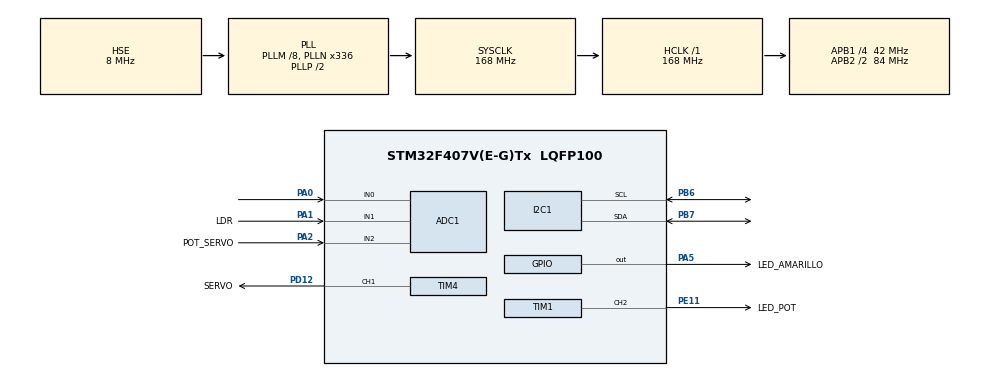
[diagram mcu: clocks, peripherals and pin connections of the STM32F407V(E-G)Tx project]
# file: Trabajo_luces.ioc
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ADC1.Channel-0\#ChannelRegularConversion=ADC_CHANNEL_0
ADC1.Channel-1\#ChannelRegularConversion=ADC_CHANNEL_1
ADC1.Channel-2\#ChannelRegularConversion=ADC_CHANNEL_2
ADC1.Channel-3\#ChannelRegularConversion=ADC_CHANNEL_TEMPSENSOR
ADC1.ContinuousConvMode=ENABLE
ADC1.NbrOfConversion=4
ADC1.NbrOfConversionFlag=1
ADC1.Rank-0\#ChannelRegularConversion=1
ADC1.Rank-1\#ChannelRegularConversion=2
ADC1.Rank-2\#ChannelRegularConversion=3
ADC1.Rank-3\#ChannelRegularConversion=4
ADC1.SamplingTime-0\#ChannelRegularConversion=ADC_SAMPLETIME_28CYCLES
ADC1.SamplingTime-1\#ChannelRegularConversion=ADC_SAMPLETIME_84CYCLES
ADC1.SamplingTime-2\#ChannelRegularConversion=ADC_SAMPLETIME_112CYCLES
ADC1.SamplingTime-3\#ChannelRegularConversion=ADC_SAMPLETIME_28CYCLES
ADC1.ScanConvMode=ENABLE
ADC1.master=1
Mcu.Family=STM32F4
Mcu.Name=STM32F407V(E-G)Tx
Mcu.Package=LQFP100
NVIC.PriorityGroup=NVIC_PRIORITYGROUP_0
PA0-WKUP.Signal=ADCx_IN0
PA1.GPIO_Label=LDR
PA1.Signal=ADCx_IN1
PA13.Mode=Serial_Wire
PA13.Signal=SYS_JTMS-SWDIO
PA14.Mode=Serial_Wire
PA14.Signal=SYS_JTCK-SWCLK
PA2.GPIO_Label=POT_SERVO
PA2.Signal=ADCx_IN2
PA5.GPIO_Label=LED_AMARILLO
PA5.Signal=GPIO_Output
PB6.Mode=I2C
PB6.Signal=I2C1_SCL
PB7.Mode=I2C
PB7.Signal=I2C1_SDA
PD12.GPIO_Label=SERVO
PD12.Signal=S_TIM4_CH1
PE11.GPIO_Label=LED_POT
PE11.Signal=S_TIM1_CH2
PH0-OSC_IN.Mode=HSE-External-Oscillator
PH0-OSC_IN.Signal=RCC_OSC_IN
PH1-OSC_OUT.Mode=HSE-External-Oscillator
PH1-OSC_OUT.Signal=RCC_OSC_OUT
ProjectManager.HeapSize=0x200
ProjectManager.StackSize=0x400
ProjectManager.TargetToolchain=STM32CubeIDE
RCC.48MHZClocksFreq_Value=48000000
RCC.AHBFreq_Value=168000000
RCC.APB1CLKDivider=RCC_HCLK_DIV4
RCC.APB1Freq_Value=42000000
RCC.APB1TimFreq_Value=84000000
RCC.APB2CLKDivider=RCC_HCLK_DIV2
RCC.APB2Freq_Value=84000000
RCC.APB2TimFreq_Value=168000000
RCC.CortexFreq_Value=168000000
RCC.HCLKFreq_Value=168000000
RCC.HSE_VALUE=8000000
RCC.HSI_VALUE=16000000
RCC.PLLM=8
RCC.PLLN=336
RCC.PLLQ=7
RCC.PLLSourceVirtual=RCC_PLLSOURCE_HSE
RCC.SYSCLKFreq_VALUE=168000000
RCC.SYSCLKSource=RCC_SYSCLKSOURCE_PLLCLK
RCC.VCOOutputFreq_Value=336000000
SH.ADCx_IN0.0=ADC1_IN0,IN0
SH.ADCx_IN1.0=ADC1_IN1,IN1
SH.ADCx_IN2.0=ADC1_IN2,IN2
SH.S_TIM1_CH2.0=TIM1_CH2,PWM Generation2 CH2
SH.S_TIM4_CH1.0=TIM4_CH1,PWM Generation1 CH1
TIM1.Channel-PWM\ Generation2\ CH2=TIM_CHANNEL_2
TIM4.Channel-PWM\ Generation1\ CH1=TIM_CHANNEL_1
TIM4.Period=19999
TIM4.Prescaler=83
VP_ADC1_TempSens_Input.Mode=IN-TempSens
VP_TIM1_VS_ClockSourceINT.Mode=Internal
VP_TIM4_VS_ClockSourceINT.Mode=Internal
board=STM32F407G-DISC1

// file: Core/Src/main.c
/* USER CODE BEGIN Header */
/**
  ******************************************************************************
  * @file           : main.c
  * @brief          : Main program body
  ******************************************************************************
  * @attention
  *
  * <h2><center>&copy; Copyright (c) 2021 STMicroelectronics.
  * All rights reserved.</center></h2>
  *
  * This software component is licensed by ST under Ultimate Liberty license
  * SLA0044, the "License"; You may not use this file except in compliance with
  * the License. You may obtain a copy of the License at:
  *                             www.st.com/SLA0044
  *
  ******************************************************************************
  */
/* USER CODE END Header */
#include "main.h"

/* USER CODE BEGIN Includes */
#include "i2c-lcd.h"
#include <stdio.h>

/* USER CODE END Includes */

ADC_HandleTypeDef hadc1;

I2C_HandleTypeDef hi2c1;

TIM_HandleTypeDef htim1;
TIM_HandleTypeDef htim4;

void SystemClock_Config(void);
static void MX_GPIO_Init(void);
static void MX_I2C1_Init(void);
static void MX_ADC1_Init(void);
static void MX_TIM1_Init(void);
static void MX_TIM4_Init(void);

/* USER CODE BEGIN 0 */

uint16_t ADC_VAL[3]; // creamos una variable para que guarde los valores de los distintos canales del ADC

// funcion de seleccion del canal 0
void ADC_sel_CH0 (void)
{
	/** Configure for the selected ADC regular channel its corresponding rank in the sequencer and its sample time.
 */
	ADC_ChannelConfTypeDef sConfig = {0};
 sConfig.Channel = ADC_CHANNEL_0;
 sConfig.Rank = 1;
 sConfig.SamplingTime = ADC_SAMPLETIME_28CYCLES;
 if (HAL_ADC_ConfigChannel(&hadc1, &sConfig) != HAL_OK)
 {
   Error_Handler();
 }
}

// funcion de seleccion del canal 1
void ADC_sel_CH1 (void)
{
	/** Configure for the selected ADC regular channel its corresponding rank in the sequencer and its sample time.
	 */
	ADC_ChannelConfTypeDef sConfig = {0}; // definimos el canal
	 sConfig.Channel = ADC_CHANNEL_1;
	 sConfig.Rank = 1;
	 sConfig.SamplingTime = ADC_SAMPLETIME_84CYCLES;
	 if (HAL_ADC_ConfigChannel(&hadc1, &sConfig) != HAL_OK)
	 {
	   Error_Handler();
	 }

}
// funcion de seleccion del canal del sensor de temperatura
void ADC_sel_CHTemp (void)
{
	 /** Configure for the selected ADC regular channel its corresponding rank in the sequencer and its sample time.
		 */
	ADC_ChannelConfTypeDef sConfig = {0};
		 sConfig.Channel = ADC_CHANNEL_TEMPSENSOR;
		 sConfig.Rank = 1;
		 sConfig.SamplingTime = ADC_SAMPLETIME_112CYCLES;
		 if (HAL_ADC_ConfigChannel(&hadc1, &sConfig) != HAL_OK)
		 {
		   Error_Handler();
		 }
}
// funcion de seleccion del canal 1
void ADC_sel_CH2 (void)
{
	ADC_ChannelConfTypeDef sConfig = {0}; // definimos el canal
	 sConfig.Channel = ADC_CHANNEL_2;
	 sConfig.Rank = 1;
	 sConfig.SamplingTime = ADC_SAMPLETIME_28CYCLES;
	 if (HAL_ADC_ConfigChannel(&hadc1, &sConfig) != HAL_OK)
		 {
		   Error_Handler();
		 }
}
//constantes para el sensor de temperatura
#define Avg_Slope .0025
#define V25 0.76
#define max 4
float Temp=0.0;
char buf [max];

/* USER CODE END 0 */

int main(void)
{

  /* MCU Configuration--------------------------------------------------------*/

  /* Reset of all peripherals, Initializes the Flash interface and the Systick. */
  HAL_Init();

  /* Configure the system clock */
  SystemClock_Config();

  /* Initialize all configured peripherals */
  MX_GPIO_Init();
  MX_I2C1_Init();
  MX_ADC1_Init();
  MX_TIM1_Init();
  MX_TIM4_Init();
  /* USER CODE BEGIN 2 */
  HAL_ADC_Start(&hadc1);

  HAL_TIM_PWM_Start(&htim1, TIM_CHANNEL_2);
  HAL_TIM_PWM_Start(&htim4, TIM_CHANNEL_1);
       lcd_init();

       lcd_clear(); //limpiamos la pantalla de posible basura que pueda mostrar
       lcd_send_cmd(0x80|0x00);// lleva el cursor a la dirección 00, que sería la primera línea
 	   lcd_send_string("Vamos a medir");
 	   lcd_send_cmd(0x80|0x40);// ahora el cursor va a la segunda línea
 	   lcd_send_string("la luz (:");
 	   HAL_Delay(2000);

	 for (int i=0; i<5; i++)
      {
   	   lcd_send_cmd(0x1C);
   	   HAL_Delay(500);
      }
	   for (int i=0; i<5; i++)
      {
   	   lcd_send_cmd(0x18);
   	   HAL_Delay(500);
      }
	   lcd_clear();

  /* USER CODE END 2 */

  /* Infinite loop */
  while (1)
  {

    /* USER CODE BEGIN 3 */
		//variables auxiliares para el servo
        uint32_t  valorservo;
		int servo;

        //codigo principal

	        ADC_sel_CH0(); // selecciona LDR
		 	  HAL_ADC_PollForConversion(&hadc1, 1000);
		 	  ADC_VAL[0] = (HAL_ADC_GetValue(&hadc1));
		 	  if (ADC_VAL[0]>3000)
		 	  		{
		 	  			lcd_send_cmd(0x80|0x00);
		 	  			lcd_send_string("Mucha luz");
		 	  			lcd_send_cmd(0x80|0x40);
		 	  		    lcd_send_string("Bajela");

		 	  		}
		 	  else if (ADC_VAL[0]<1900)
		 	  			{
		 	  				lcd_send_cmd(0x80|0x00);
		 	  				lcd_send_string("Poca luz");
		 	  				lcd_send_cmd(0x80|0x40);
		 	  			    lcd_send_string("Subala");

		 	  			}
		 	  else if (ADC_VAL[0]>=1900 && ADC_VAL[0]<=3000)
		 	  		{
		 	  			lcd_send_cmd (0x80|0x00);
		 	  			lcd_send_string ("Buen nivel de luz");

		 	  		}

		 	 ADC_sel_CH1(); //potenciometro
		 	   HAL_ADC_Start(&hadc1);
		 	   HAL_ADC_PollForConversion(&hadc1, 1000);
		 	   ADC_VAL[1] = HAL_ADC_GetValue(&hadc1);
		 	  __HAL_TIM_SET_COMPARE(&htim1, TIM_CHANNEL_2, ADC_VAL[1]*64);

		 	 ADC_sel_CHTemp(); //temperatura
		 	   HAL_ADC_Start(&hadc1);
		 	   HAL_ADC_PollForConversion(&hadc1, 1000);
		 	   ADC_VAL[2] = HAL_ADC_GetValue(&hadc1);
		 	   HAL_ADC_Stop(&hadc1);

		 	  Temp  =  ((( 3.3 * ADC_VAL [ 2 ] / 4095)  -  V25) / Avg_Slope) + 25 ;
		 	  gcvt(Temp,1, buf);
		 	  printf("Temperatura: %S", buf);

       	    ADC_sel_CH2();//pot servo
		 	  HAL_ADC_Start(&hadc1);
		      HAL_ADC_PollForConversion(&hadc1,HAL_MAX_DELAY );
		 	  ADC_VAL[3] = (HAL_ADC_GetValue(&hadc1));
		 		servo = ADC_VAL[3];

		 		if (servo<=1000)
		 		{
		 			valorservo = 300;
		 		 lcd_send_cmd(0x80|0x54);
		 		 lcd_send_string("Persiana bajada");
		 		 TIM4->CCR1 = valorservo;
		 		HAL_GPIO_WritePin(GPIOA, GPIO_PIN_5, RESET);
		 		 HAL_Delay (500);

		 		}
		 		else if (servo>1000)
		 		{
		 			valorservo = 3000;
		 		 lcd_send_cmd(0x80|0x54);
		 	     lcd_send_string("Persiana subida");
		 	     TIM4->CCR1 = valorservo;
		 	     HAL_GPIO_WritePin(GPIOA, GPIO_PIN_5, SET);
		 	     HAL_Delay (500);

		 		}
		 	  HAL_Delay (500);
		 	  lcd_clear();

  }
  /* USER CODE END 3 */
}

void SystemClock_Config(void)
{
  RCC_OscInitTypeDef RCC_OscInitStruct = {0};
  RCC_ClkInitTypeDef RCC_ClkInitStruct = {0};

  /** Configure the main internal regulator output voltage
  */
  __HAL_RCC_PWR_CLK_ENABLE();
  __HAL_PWR_VOLTAGESCALING_CONFIG(PWR_REGULATOR_VOLTAGE_SCALE1);
  /** Initializes the RCC Oscillators according to the specified parameters
  * in the RCC_OscInitTypeDef structure.
  */
  RCC_OscInitStruct.OscillatorType = RCC_OSCILLATORTYPE_HSE;
  RCC_OscInitStruct.HSEState = RCC_HSE_ON;
  RCC_OscInitStruct.PLL.PLLState = RCC_PLL_ON;
  RCC_OscInitStruct.PLL.PLLSource = RCC_PLLSOURCE_HSE;
  RCC_OscInitStruct.PLL.PLLM = 8;
  RCC_OscInitStruct.PLL.PLLN = 336;
  RCC_OscInitStruct.PLL.PLLP = RCC_PLLP_DIV2;
  RCC_OscInitStruct.PLL.PLLQ = 7;
  if (HAL_RCC_OscConfig(&RCC_OscInitStruct) != HAL_OK)
  {
    Error_Handler();
  }
  /** Initializes the CPU, AHB and APB buses clocks
  */
  RCC_ClkInitStruct.ClockType = RCC_CLOCKTYPE_HCLK|RCC_CLOCKTYPE_SYSCLK
                              |RCC_CLOCKTYPE_PCLK1|RCC_CLOCKTYPE_PCLK2;
  RCC_ClkInitStruct.SYSCLKSource = RCC_SYSCLKSOURCE_PLLCLK;
  RCC_ClkInitStruct.AHBCLKDivider = RCC_SYSCLK_DIV1;
  RCC_ClkInitStruct.APB1CLKDivider = RCC_HCLK_DIV4;
  RCC_ClkInitStruct.APB2CLKDivider = RCC_HCLK_DIV2;

  if (HAL_RCC_ClockConfig(&RCC_ClkInitStruct, FLASH_LATENCY_5) != HAL_OK)
  {
    Error_Handler();
  }
}

static void MX_ADC1_Init(void)
{

  ADC_ChannelConfTypeDef sConfig = {0};

  /** Configure the global features of the ADC (Clock, Resolution, Data Alignment and number of conversion)
  */
  hadc1.Instance = ADC1;
  hadc1.Init.ClockPrescaler = ADC_CLOCK_SYNC_PCLK_DIV4;
  hadc1.Init.Resolution = ADC_RESOLUTION_12B;
  hadc1.Init.ScanConvMode = ENABLE;
  hadc1.Init.ContinuousConvMode = ENABLE;
  hadc1.Init.DiscontinuousConvMode = DISABLE;
  hadc1.Init.ExternalTrigConvEdge = ADC_EXTERNALTRIGCONVEDGE_NONE;
  hadc1.Init.ExternalTrigConv = ADC_SOFTWARE_START;
  hadc1.Init.DataAlign = ADC_DATAALIGN_RIGHT;
  hadc1.Init.NbrOfConversion = 4;
  hadc1.Init.DMAContinuousRequests = DISABLE;
  hadc1.Init.EOCSelection = ADC_EOC_SINGLE_CONV;
  if (HAL_ADC_Init(&hadc1) != HAL_OK)
  {
    Error_Handler();
  }
  /** Configure for the selected ADC regular channel its corresponding rank in the sequencer and its sample time.
  */
  sConfig.Channel = ADC_CHANNEL_0;
  sConfig.Rank = 1;
  sConfig.SamplingTime = ADC_SAMPLETIME_28CYCLES;
  if (HAL_ADC_ConfigChannel(&hadc1, &sConfig) != HAL_OK)
  {
    Error_Handler();
  }
  /** Configure for the selected ADC regular channel its corresponding rank in the sequencer and its sample time.
  */
  sConfig.Channel = ADC_CHANNEL_1;
  sConfig.Rank = 2;
  sConfig.SamplingTime = ADC_SAMPLETIME_84CYCLES;
  if (HAL_ADC_ConfigChannel(&hadc1, &sConfig) != HAL_OK)
  {
    Error_Handler();
  }
  /** Configure for the selected ADC regular channel its corresponding rank in the sequencer and its sample time.
  */
  sConfig.Channel = ADC_CHANNEL_2;
  sConfig.Rank = 3;
  sConfig.SamplingTime = ADC_SAMPLETIME_112CYCLES;
  if (HAL_ADC_ConfigChannel(&hadc1, &sConfig) != HAL_OK)
  {
    Error_Handler();
  }
  /** Configure for the selected ADC regular channel its corresponding rank in the sequencer and its sample time.
  */
  sConfig.Channel = ADC_CHANNEL_TEMPSENSOR;
  sConfig.Rank = 4;
  sConfig.SamplingTime = ADC_SAMPLETIME_28CYCLES;
  if (HAL_ADC_ConfigChannel(&hadc1, &sConfig) != HAL_OK)
  {
    Error_Handler();
  }

}

static void MX_I2C1_Init(void)
{

  hi2c1.Instance = I2C1;
  hi2c1.Init.ClockSpeed = 100000;
  hi2c1.Init.DutyCycle = I2C_DUTYCYCLE_2;
  hi2c1.Init.OwnAddress1 = 0;
  hi2c1.Init.AddressingMode = I2C_ADDRESSINGMODE_7BIT;
  hi2c1.Init.DualAddressMode = I2C_DUALADDRESS_DISABLE;
  hi2c1.Init.OwnAddress2 = 0;
  hi2c1.Init.GeneralCallMode = I2C_GENERALCALL_DISABLE;
  hi2c1.Init.NoStretchMode = I2C_NOSTRETCH_DISABLE;
  if (HAL_I2C_Init(&hi2c1) != HAL_OK)
  {
    Error_Handler();
  }

}

static void MX_TIM1_Init(void)
{

  TIM_ClockConfigTypeDef sClockSourceConfig = {0};
  TIM_MasterConfigTypeDef sMasterConfig = {0};
  TIM_OC_InitTypeDef sConfigOC = {0};
  TIM_BreakDeadTimeConfigTypeDef sBreakDeadTimeConfig = {0};

  htim1.Instance = TIM1;
  htim1.Init.Prescaler = 0;
  htim1.Init.CounterMode = TIM_COUNTERMODE_UP;
  htim1.Init.Period = 65535;
  htim1.Init.ClockDivision = TIM_CLOCKDIVISION_DIV1;
  htim1.Init.RepetitionCounter = 0;
  htim1.Init.AutoReloadPreload = TIM_AUTORELOAD_PRELOAD_DISABLE;
  if (HAL_TIM_Base_Init(&htim1) != HAL_OK)
  {
    Error_Handler();
  }
  sClockSourceConfig.ClockSource = TIM_CLOCKSOURCE_INTERNAL;
  if (HAL_TIM_ConfigClockSource(&htim1, &sClockSourceConfig) != HAL_OK)
  {
    Error_Handler();
  }
  if (HAL_TIM_PWM_Init(&htim1) != HAL_OK)
  {
    Error_Handler();
  }
  sMasterConfig.MasterOutputTrigger = TIM_TRGO_RESET;
  sMasterConfig.MasterSlaveMode = TIM_MASTERSLAVEMODE_DISABLE;
  if (HAL_TIMEx_MasterConfigSynchronization(&htim1, &sMasterConfig) != HAL_OK)
  {
    Error_Handler();
  }
  sConfigOC.OCMode = TIM_OCMODE_PWM1;
  sConfigOC.Pulse = 0;
  sConfigOC.OCPolarity = TIM_OCPOLARITY_HIGH;
  sConfigOC.OCNPolarity = TIM_OCNPOLARITY_HIGH;
  sConfigOC.OCFastMode = TIM_OCFAST_DISABLE;
  sConfigOC.OCIdleState = TIM_OCIDLESTATE_RESET;
  sConfigOC.OCNIdleState = TIM_OCNIDLESTATE_RESET;
  if (HAL_TIM_PWM_ConfigChannel(&htim1, &sConfigOC, TIM_CHANNEL_2) != HAL_OK)
  {
    Error_Handler();
  }
  sBreakDeadTimeConfig.OffStateRunMode = TIM_OSSR_DISABLE;
  sBreakDeadTimeConfig.OffStateIDLEMode = TIM_OSSI_DISABLE;
  sBreakDeadTimeConfig.LockLevel = TIM_LOCKLEVEL_OFF;
  sBreakDeadTimeConfig.DeadTime = 0;
  sBreakDeadTimeConfig.BreakState = TIM_BREAK_DISABLE;
  sBreakDeadTimeConfig.BreakPolarity = TIM_BREAKPOLARITY_HIGH;
  sBreakDeadTimeConfig.AutomaticOutput = TIM_AUTOMATICOUTPUT_DISABLE;
  if (HAL_TIMEx_ConfigBreakDeadTime(&htim1, &sBreakDeadTimeConfig) != HAL_OK)
  {
    Error_Handler();
  }
  HAL_TIM_MspPostInit(&htim1);

}

static void MX_TIM4_Init(void)
{

  TIM_ClockConfigTypeDef sClockSourceConfig = {0};
  TIM_MasterConfigTypeDef sMasterConfig = {0};
  TIM_OC_InitTypeDef sConfigOC = {0};

  htim4.Instance = TIM4;
  htim4.Init.Prescaler = 83;
  htim4.Init.CounterMode = TIM_COUNTERMODE_UP;
  htim4.Init.Period = 19999;
  htim4.Init.ClockDivision = TIM_CLOCKDIVISION_DIV1;
  htim4.Init.AutoReloadPreload = TIM_AUTORELOAD_PRELOAD_DISABLE;
  if (HAL_TIM_Base_Init(&htim4) != HAL_OK)
  {
    Error_Handler();
  }
  sClockSourceConfig.ClockSource = TIM_CLOCKSOURCE_INTERNAL;
  if (HAL_TIM_ConfigClockSource(&htim4, &sClockSourceConfig) != HAL_OK)
  {
    Error_Handler();
  }
  if (HAL_TIM_PWM_Init(&htim4) != HAL_OK)
  {
    Error_Handler();
  }
  sMasterConfig.MasterOutputTrigger = TIM_TRGO_RESET;
  sMasterConfig.MasterSlaveMode = TIM_MASTERSLAVEMODE_DISABLE;
  if (HAL_TIMEx_MasterConfigSynchronization(&htim4, &sMasterConfig) != HAL_OK)
  {
    Error_Handler();
  }
  sConfigOC.OCMode = TIM_OCMODE_PWM1;
  sConfigOC.Pulse = 0;
  sConfigOC.OCPolarity = TIM_OCPOLARITY_HIGH;
  sConfigOC.OCFastMode = TIM_OCFAST_DISABLE;
  if (HAL_TIM_PWM_ConfigChannel(&htim4, &sConfigOC, TIM_CHANNEL_1) != HAL_OK)
  {
    Error_Handler();
  }
  HAL_TIM_MspPostInit(&htim4);

}

static void MX_GPIO_Init(void)
{
  GPIO_InitTypeDef GPIO_InitStruct = {0};

  /* GPIO Ports Clock Enable */
  __HAL_RCC_GPIOH_CLK_ENABLE();
  __HAL_RCC_GPIOA_CLK_ENABLE();
  __HAL_RCC_GPIOE_CLK_ENABLE();
  __HAL_RCC_GPIOD_CLK_ENABLE();
  __HAL_RCC_GPIOB_CLK_ENABLE();

  /*Configure GPIO pin Output Level */
  HAL_GPIO_WritePin(LED_AMARILLO_GPIO_Port, LED_AMARILLO_Pin, GPIO_PIN_RESET);

  /*Configure GPIO pin : LED_AMARILLO_Pin */
  GPIO_InitStruct.Pin = LED_AMARILLO_Pin;
  GPIO_InitStruct.Mode = GPIO_MODE_OUTPUT_PP;
  GPIO_InitStruct.Pull = GPIO_NOPULL;
  GPIO_InitStruct.Speed = GPIO_SPEED_FREQ_LOW;
  HAL_GPIO_Init(LED_AMARILLO_GPIO_Port, &GPIO_InitStruct);

}

void Error_Handler(void)
{
  __disable_irq();
  while (1)
  {
  }
}

/************************ (C) COPYRIGHT STMicroelectronics *****END OF FILE****/
